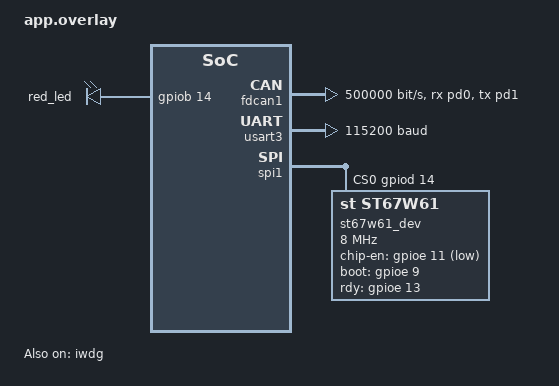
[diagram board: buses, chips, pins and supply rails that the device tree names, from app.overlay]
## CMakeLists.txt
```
cmake_minimum_required(VERSION 3.20.0)

# ── MCUboot image signing key ─────────────────────────────────────────────────
# Must be set before find_package(Zephyr) so cmake/mcuboot.cmake picks it up.
set(MCUBOOT_SIGNING_KEY_FILE ${CMAKE_CURRENT_SOURCE_DIR}/mcuboot_signing_key.pem)

find_package(Zephyr REQUIRED HINTS $ENV{ZEPHYR_BASE})
project(hdv_sim VERSION 1.0.0 LANGUAGES CXX C)

set(REPO_ROOT ${CMAKE_CURRENT_SOURCE_DIR}/..)


# Phase 0
set(APP_SRCS
    src/main.cpp
)

# Phase 1: shell, LED, HTTP server (now HTTPS)
list(APPEND APP_SRCS src/shell/debug_cmds.cpp)
list(APPEND APP_SRCS src/led/led_task.cpp)
list(APPEND APP_SRCS
    src/http/http_server.cpp
    src/http/http_cmd.cpp
    src/http/http_page.cpp
    src/http/http_session.cpp
    src/http/http_ota.cpp
)

# Phase 3c: common TLS credentials library (HTTPS + future MQTTS)
list(APPEND APP_SRCS src/tls/tls_creds.cpp)

# Phase 3: CAN RX thread
list(APPEND APP_SRCS src/can/can_rx.cpp)

# Phase 4: Plant model, CAN TX
file(GLOB_RECURSE PLANT_SRCS "${REPO_ROOT}/src/plant/*.cpp")
list(FILTER PLANT_SRCS EXCLUDE REGEX ".*/plant_model\\.cpp$")
list(APPEND APP_SRCS
    ${PLANT_SRCS}
    ${REPO_ROOT}/src/plant/subsystem_manager/subsystem_manager.cpp
    src/plant/plant_model_zephyr.cpp
    src/plant/plant_thread.cpp
    src/can/can_tx.cpp
)

# Auxiliary threads
list(APPEND APP_SRCS
    src/stats/stats_thread.cpp
    src/watchdog/watchdog_thread.cpp
)

# MQTT client — subscribes to hdv/cmd/actuator, publishes hdv/state/vehicle
list(APPEND APP_SRCS src/mqtt/mqtt_client.cpp)

target_sources(app PRIVATE ${APP_SRCS})

# ── Embed web UI ──────────────────────────────────────────────────────────────
# Built by `npm run build` in webui/ (scripts/ota_flash.sh does this first).
set(WEBUI_DIST ${CMAKE_CURRENT_SOURCE_DIR}/../webui/dist)
foreach(f index.html app.js app.css)
    if(NOT EXISTS ${WEBUI_DIST}/${f})
        message(FATAL_ERROR "webui/dist/${f} missing — run: cd webui && npm ci && npm run build")
    endif()
endforeach()
generate_inc_file_for_target(app ${WEBUI_DIST}/index.html ${CMAKE_CURRENT_BINARY_DIR}/webui_index.inc)
generate_inc_file_for_target(app ${WEBUI_DIST}/app.js     ${CMAKE_CURRENT_BINARY_DIR}/webui_app_js.inc)
generate_inc_file_for_target(app ${WEBUI_DIST}/app.css    ${CMAKE_CURRENT_BINARY_DIR}/webui_app_css.inc)

# ── Embed TLS certificate and private key ─────────────────────────────────────
# Generated by scripts/gen_tls_certs.sh — gitignored, never committed.
# Re-run gen_tls_certs.sh then rebuild to rotate the certificate.
generate_inc_file_for_target(app
    ${CMAKE_CURRENT_SOURCE_DIR}/certs/server.crt
    ${CMAKE_CURRENT_BINARY_DIR}/server_cert.inc
)
generate_inc_file_for_target(app
    ${CMAKE_CURRENT_SOURCE_DIR}/certs/server.key
    ${CMAKE_CURRENT_BINARY_DIR}/server_key.inc
)

# ── Embed MQTT broker CA certificate ─────────────────────────────────────────
# Generated by scripts/gen_mqtt_broker_cert.sh — gitignored, never committed.
# Re-run gen_mqtt_broker_cert.sh (with broker IP) then rebuild when broker IP changes.
generate_inc_file_for_target(app
    ${CMAKE_CURRENT_SOURCE_DIR}/certs/broker_ca.crt
    ${CMAKE_CURRENT_BINARY_DIR}/broker_ca.inc
)


target_include_directories(app PRIVATE
    ${REPO_ROOT}
    ${REPO_ROOT}/src
    ${REPO_ROOT}/src/plant
    ${REPO_ROOT}/utils
    ${CMAKE_CURRENT_SOURCE_DIR}/src
    ${CMAKE_CURRENT_SOURCE_DIR}/src/http
    ${CMAKE_CURRENT_SOURCE_DIR}/cpp_compat
    ${CMAKE_CURRENT_BINARY_DIR}    # webui_*.inc, server_cert.inc, server_key.inc
)
```

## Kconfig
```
mainmenu "Heavy-Duty Electric Vehicle Plant Simulator — Zephyr Configuration"

config HDV_CAN_LOOPBACK
	bool "Start FDCAN1 in internal loopback mode (self-test without transceiver)"
	default n
	help
	  When enabled the CAN RX thread calls can_set_mode(CAN_MODE_LOOPBACK)
	  before can_start(). Frames sent via 'can tx_test' are echoed back to
	  the RX filter without any external hardware. Disable for production.

config HDV_MQTT_BROKER_ADDR
	string "MQTT broker IP address"
	default "192.168.1.106"
	help
	  Default broker address. Can be overridden at runtime via the HTTPS
	  dashboard "MQTT Broker" card or the 'mqtt reconnect' shell command.

config HDV_MQTT_BROKER_PORT
	int "MQTT broker TCP port"
	default 1883
	range 1 65535
	help
	  Default broker port (1883 = plaintext MQTT).

source "Kconfig.zephyr"
```

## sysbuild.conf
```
# sysbuild.conf — Zephyr sysbuild configuration
# Instructs west to build MCUboot as a companion image and flash it
# alongside the application. Requires: west build --sysbuild

SB_CONFIG_BOOTLOADER_MCUBOOT=y
```

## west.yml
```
manifest:
  projects:
    - name: zephyr
      url: https://github.com/zephyrproject-rtos/zephyr
      revision: v3.7.0
      path: deps/zephyr
      import: true

  self:
    path: vehicle-Dynamics-Sim-Can/zephyr
```

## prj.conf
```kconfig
# ── Phase 1: Logging + UART Shell ────────────────────────────────────────────

CONFIG_MAIN_STACK_SIZE=4096
# Below watchdog (priority 2) so WDT feeds before main() logs banner
CONFIG_MAIN_THREAD_PRIORITY=3

# ── Logging over USART3 (ST-Link VCP) ────────────────────────────────────────
CONFIG_LOG=y
CONFIG_LOG_DEFAULT_LEVEL=3
CONFIG_LOG_BACKEND_UART=y
CONFIG_LOG_BUFFER_SIZE=16384
CONFIG_LOG_PROCESS_THREAD_STACK_SIZE=2048

# ── Interactive shell ─────────────────────────────────────────────────────────
CONFIG_SHELL=y
CONFIG_SHELL_BACKEND_SERIAL=y
CONFIG_SHELL_STACK_SIZE=4096

# ── C++ support ───────────────────────────────────────────────────────────────
CONFIG_CPP=y
CONFIG_STD_CPP17=y
CONFIG_NEWLIB_LIBC=y

# ── Floating-point support in cbprintf ───────────────────────────────────────
CONFIG_CBPRINTF_FP_SUPPORT=y

# ── Heap — general heap (Zephyr k_malloc, network stack, shell)
# 128 KB is ample now that mbed TLS is removed.
CONFIG_HEAP_MEM_POOL_SIZE=131072

# ── Networking ────────────────────────────────────────────────────────────────
CONFIG_NETWORKING=y
CONFIG_NET_IPV4=y
CONFIG_NET_TCP=y
CONFIG_NET_SOCKETS=y
CONFIG_POSIX_API=y

# ── Wi-Fi (X-NUCLEO-67W61M1 / ST67W61) ──────────────────────────────────────
# WIFI=y enables the driver submenu; WIFI_ST67W61 auto-enables via default y
# when the DT node (compatible = "st,st67w61", status = "okay") is present.
# NET_L2_WIFI_MGMT, WIFI_OFFLOAD, SPI, GPIO are all selected by the driver.
CONFIG_WIFI=y
# DBG level (4) to see RX header bytes during SPI bring-up.
# Reduce to 3 (INF) once boot message is confirmed working.
CONFIG_ST67W61_LOG_LEVEL=4
# BOOT polarity test (run 2026-05-13): HIGH = module fully silent,
# LOW = module emits `01 55 00 00 00 00 01 00` frame. Conclusion: LOW
# is the normal AT mode (matches ST datasheet); the 01-55 frame is the
# real boot reply of this firmware variant, just in a different format
# than the bare-metal-implementation reference.
# CONFIG_ST67W61_BOOT_LEVEL_FOR_AT=1   # leave commented (= default 0)

# ── Static IP (192.168.1.80) — unchanged from Ethernet config ────────────────
CONFIG_NET_CONFIG_SETTINGS=y
CONFIG_NET_CONFIG_NEED_IPV4=y
CONFIG_NET_CONFIG_MY_IPV4_ADDR="192.168.1.80"
CONFIG_NET_CONFIG_MY_IPV4_NETMASK="255.255.255.0"
CONFIG_NET_CONFIG_MY_IPV4_GW="192.168.1.1"
# 0 = return immediately; Wi-Fi association is signalled via NET_EVENT_L4_CONNECTED
# handled in net_mgr.cpp — threads wait on that semaphore, not on net_config.
CONFIG_NET_CONFIG_INIT_TIMEOUT=0

# ── Network buffers ───────────────────────────────────────────────────────────
CONFIG_NET_PKT_RX_COUNT=16
CONFIG_NET_PKT_TX_COUNT=16
CONFIG_NET_BUF_RX_COUNT=64
CONFIG_NET_BUF_TX_COUNT=64
CONFIG_NET_TCP_TIME_WAIT_DELAY=0


# ── Thread introspection ──────────────────────────────────────────────────────
CONFIG_THREAD_MONITOR=y
CONFIG_THREAD_NAME=y
CONFIG_THREAD_STACK_INFO=y
CONFIG_INIT_STACKS=y

# ── Memory protection + security hardening ────────────────────────────────────
CONFIG_MPU=y
# MPU catches stack overflow — replaces STACK_SENTINEL
CONFIG_HW_STACK_PROTECTION=y
CONFIG_FAULT_DUMP=2
CONFIG_ASSERT=y

# ── Hardware watchdog ─────────────────────────────────────────────────────────
CONFIG_WATCHDOG=y

# ── MCUboot secure bootloader ────────────────────────────────────────────────
CONFIG_BOOTLOADER_MCUBOOT=y
CONFIG_IMG_MANAGER=y
CONFIG_FLASH=y
CONFIG_FLASH_MAP=y
CONFIG_STREAM_FLASH=y
CONFIG_IMG_ERASE_PROGRESSIVELY=y
# Signing key set via MCUBOOT_SIGNING_KEY_FILE in CMakeLists.txt (MCUboot test key).

# ── Phase 3c: TLS / mbedTLS (HTTPS on port 443) ──────────────────────────────
# NET_SOCKETS_SOCKOPT_TLS implies TLS_CREDENTIALS and selects MBEDTLS_BUILTIN.
CONFIG_NET_SOCKETS_SOCKOPT_TLS=y
CONFIG_MBEDTLS_BUILTIN=y

# mbedTLS heap: 2×16384 I/O buffers + RSA-2048 (~20KB) + X.509 (~8KB) ≈ 60KB peak.
# 96KB gives ~36KB headroom. SSL_MAX_CONTENT_LEN must be 16384 (TLS standard max)
# so curl OTA uploads fit in a single TLS record.
CONFIG_MBEDTLS_ENABLE_HEAP=y
CONFIG_MBEDTLS_HEAP_SIZE=131072
CONFIG_MBEDTLS_SSL_MAX_CONTENT_LEN=16384

# TLS contexts: HTTPS listen(1) + HTTPS accepted(2) + MQTTS client(1) + headroom(1)
CONFIG_NET_SOCKETS_TLS_MAX_CONTEXTS=5

# ── mbedTLS cipher suite: TLS_ECDHE_RSA_WITH_AES_128_GCM_SHA256 ──────────────
# Correct Kconfig symbol names (verified against Kconfig.tls-generic):
#   ECDHE_RSA depends on ECDH_C which depends on ECP_C.
#   GCM: MBEDTLS_CIPHER_GCM_ENABLED (not MBEDTLS_GCM_ENABLED — that doesn't exist).
#   SHA256: MBEDTLS_SHA256 (no _ENABLED suffix; defaults y but listed for clarity).
#   Inline comments on value lines are NOT supported in .conf files.
CONFIG_MBEDTLS_KEY_EXCHANGE_ECDHE_RSA_ENABLED=y
CONFIG_MBEDTLS_ECDH_C=y
CONFIG_MBEDTLS_ECP_C=y
CONFIG_MBEDTLS_ECP_DP_SECP256R1_ENABLED=y
CONFIG_MBEDTLS_CIPHER_AES_ENABLED=y
CONFIG_MBEDTLS_CIPHER_GCM_ENABLED=y
CONFIG_MBEDTLS_SHA256=y
# PEM cert/key support — without this mbedTLS only supports DER (binary) format.
# MBEDTLS_PEM_PARSE_C and MBEDTLS_BASE64_C are both gated on this symbol.
CONFIG_MBEDTLS_PEM_CERTIFICATE_FORMAT=y

# Enable runtime heap statistics — populates g_sys_stats.heap_used/free.
# Visible in the dashboard "System Resources" card.
CONFIG_SYS_HEAP_RUNTIME_STATS=y

# ── MQTT client (plaintext TCP, no TLS for now) ───────────────────────────────
# CONFIG_NET_SOCKETS_TLS_MAX_CONTEXTS stays at 2 — plaintext uses no TLS context.
CONFIG_MQTT_LIB=y
CONFIG_MQTT_LIB_TLS=y
CONFIG_MQTT_KEEPALIVE=60
CONFIG_JSON_LIBRARY=y
CONFIG_HDV_MQTT_BROKER_ADDR="192.168.1.106"
CONFIG_HDV_MQTT_BROKER_PORT=8883

# ── Phase 3: FDCAN1 CAN transport ────────────────────────────────────────────
CONFIG_CAN=y

# Loopback mode — set y for self-test without a physical transceiver.
# Set n only when SN65HVD230 is wired to CN11 pins 55/57 with RS pulled to GND.
CONFIG_HDV_CAN_LOOPBACK=y
```

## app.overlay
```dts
/*
 * app.overlay — DeviceTree overlay for Nucleo-H753ZI
 *
 * Phase 0: USART3 only (ST-Link VCP, no extra cable needed).
 * Phase 1: uncomment FDCAN1 block.
 *
 * FDCAN1 wiring (when enabled):
 *   PD0 (RX) = CN11 morpho pin 57  — marked CAN on board silkscreen
 *   PD1 (TX) = CN11 morpho pin 55
 *   Connect to SN65HVD230 or TCAN1042 transceiver (3.3V compatible).
 */

/ {
    chosen {
        zephyr,console    = &usart3;
        zephyr,shell-uart = &usart3;
        zephyr,canbus     = &fdcan1;
    };

    /* LD3 (red, PB14) — board DTS exposes this only as a PWM LED.
     * Add it here as a plain GPIO so led_task.cpp can drive it directly. */
    app_leds: app_leds {
        compatible = "gpio-leds";
        red_led: led_2 {
            gpios = <&gpiob 14 GPIO_ACTIVE_HIGH>;
        };
    };

    aliases {
        led2 = &red_led;
    };
};

/* Phase 3: FDCAN1 at 500 kbps — PD0 (RX), PD1 (TX)
 * Connect to TCAN1042 or SN65HVD230 (3.3 V) transceiver.
 * In loopback mode (CONFIG_HDV_CAN_LOOPBACK=y) no transceiver is needed.
 * Pinctrl nodes defined in Zephyr's stm32h7-pinctrl.dtsi. */
&fdcan1 {
    status = "okay";
    pinctrl-0 = <&fdcan1_rx_pd0 &fdcan1_tx_pd1>;
    pinctrl-names = "default";
    bitrate = <500000>;
    sample-point = <875>;
};

&usart3 {
    status = "okay";
    current-speed = <115200>;
};

/* Ethernet MAC disabled — Wi-Fi provided by X-NUCLEO-67W61M1 HAT (ST67W61) */
&mac {
    status = "disabled";
};

/*
 * SPI1 — Arduino header (confirmed from nucleo_h753zi arduino_r3_connector.dtsi):
 *   D13 = PA5  (SPI1_SCK)
 *   D12 = PA6  (SPI1_MISO)
 *   D11 = PB5  (SPI1_MOSI)
 *   D10 = PD14 (CS — GPIO_ACTIVE_LOW, already in board DTS)
 *   D5  = PE11 (CHIP_EN — confirmed from NUCLEO-U575ZI-Q ref main.h)
 *   D6  = PE9  (BOOT    — confirmed from NUCLEO-U575ZI-Q ref main.h, drive LOW = normal mode)
 *   D3  = PE13 (SPI_RDY — confirmed from NUCLEO-U575ZI-Q ref main.h)
 *
 * The board DTS already enables SPI1 with pinctrl and D10/CS.
 * We override it here to add the ST67W61 child device and keep CS settings.
 */
&spi1 {
    status = "okay";
    /* pinctrl-0 / pinctrl-names inherited from board DTS.
     * cs-gpios overridden: ST67W61 SPI CS is active-HIGH (reference spi_port_set_cs(1)
     * drives GPIO_PIN_SET = physical HIGH = chip selected). Board DTS default is
     * GPIO_ACTIVE_LOW which inverts the sense and prevents CS from ever asserting. */
    cs-gpios = <&gpiod 14 GPIO_ACTIVE_HIGH>;
    /* fifo-enable: on H7 this sets LL_SPI_SetTransferSize(N) per transaction
     * and clears EOT/OVR/TXTF flags at completion — prevents stale SPI state
     * from leaking across calls (TSIZE=0 "endless" mode is unreliable here). */
    fifo-enable;
    /* mssi-clock: 8 SPI clock cycles between CS assertion and first SCK edge.
     * At 1.875 MHz: 8 × 533 ns ≈ 4.3 µs CS setup time.
     * ST67W61 may need time to recognise CS and load its shift register. */
    mssi-clock = <8>;
    /* midi-clock: 4 cycles between consecutive SPI frames.
     * Ensures MISO is in a clean state between each byte burst. */
    midi-clock = <4>;

    st67w61_dev: wifi@0 {
        compatible = "st,st67w61";
        reg = <0>;
        status = "okay";
        /* 480 MHz PLL1_Q / 64 = 7.5 MHz — matches reference project's 10 MHz intent.
         * Reference Echo project uses SPI_BAUDRATEPRESCALER_16 on 160 MHz = 10 MHz.
         * DT_FREQ_M(8) selects DIV64 → actual 7.5 MHz.
         * Prior value DT_FREQ_M(2) = 1.875 MHz may have caused module timeout:
         * at 1.875 MHz, 1036-byte RX takes ~12 ms (with Zephyr polling overhead);
         * if the module has an internal rx-complete timeout it could abort early. */
        spi-max-frequency = <DT_FREQ_M(8)>;
        /* CHIP_EN: D5 = PE11 — active-low (GPIO_ACTIVE_LOW): logical 0 = physical HIGH = module on */
        chip-en-gpios = <&gpioe 11 GPIO_ACTIVE_LOW>;
        /* BOOT:    D6 = PE9  — drive LOW = normal SPI AT mode (HIGH = firmware update) */
        boot-gpios    = <&gpioe 9  GPIO_ACTIVE_HIGH>;
        /* SPI_RDY: D3 = PE13 — module drives HIGH when ready; PULL_DOWN = LOW when idle */
        rdy-gpios     = <&gpioe 13 (GPIO_ACTIVE_HIGH | GPIO_PULL_DOWN)>;
    };
};

&iwdg {
    status = "okay";
};

/* ── Flash partition layout — overrides board DTS defaults ───────────────────
 * STM32H753ZI: 2 MB dual-bank flash, 128 KB sectors.
 * ALL boundaries must be 128 KB aligned.
 *
 * Board default (nucleo_h753zi.dts):
 *   0x08000000  MCUboot    128 KB  sector 0, bank 1
 *   0x08020000  Storage    128 KB  sector 1, bank 1  ← left in place (board default)
 *   0x08040000  Slot 0     256 KB  sectors 2-3, bank 1 (default — too small for us)
 *   0x08080000  Slot 1     256 KB  sectors 4-5, bank 1 (default)
 *   0x080C0000  Scratch    128 KB  sector 6, bank 1  (default)
 *
 * Our override (expand slots, respect storage_partition at 0x20000):
 *   0x08000000  MCUboot    128 KB  (sector 0, bank 1)
 *   0x08020000  Storage    128 KB  (sector 1, bank 1)  — board default, not touched
 *   0x08040000  Slot 0     640 KB  (sectors 2-6, bank 1)  ← active app
 *   0x080E0000  Unused     128 KB  (sector 7, bank 1)
 *   0x08100000  Slot 1     640 KB  (sectors 0-4, bank 2)  ← OTA update
 *   0x081A0000  Unused     256 KB  (sectors 5-6, bank 2)
 *   0x081E0000  Scratch    128 KB  (sector 7, bank 2)
 *
 * slot0 node stays at partition@40000 — matches board DTS node name, no warnings.
 * 640 KB >> 286 KB app; ample headroom.
 */
&boot_partition {
    reg = <0x00000000 DT_SIZE_K(128)>;
};
&slot0_partition {
    reg = <0x00040000 DT_SIZE_K(640)>;
};
&slot1_partition {
    reg = <0x00100000 DT_SIZE_K(640)>;
};
&scratch_partition {
    reg = <0x001E0000 DT_SIZE_K(128)>;
};
```

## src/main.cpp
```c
// zephyr/src/main.cpp
// Heavy-Duty Electric Vehicle Plant Simulator — Zephyr RTOS entry point

#include <zephyr/kernel.h>
#include <zephyr/logging/log.h>
#include <zephyr/dfu/mcuboot.h>

#include "state/sim_state.hpp"
#include "state/control_bus.hpp"
#include "state/system_health.hpp"
#include "net/net_mgr.hpp"

LOG_MODULE_REGISTER(hdv_sim, LOG_LEVEL_INF);

// ── Shared state buses ────────────────────────────────────────────────────────
hdv::SimStateBus      g_sim_bus{};      // plant output + actuator command
hdv::ControlBus       g_ctrl_bus{};     // source arbitration + counters + mu
hdv::SystemHealthBus  g_health_bus{};   // system telemetry (stats_thread writes)

// K_MUTEX_DEFINE must be at file scope — Zephyr linker constraint.
K_MUTEX_DEFINE(g_sim_plant_mtx);   // guards g_sim_bus.plant
K_MUTEX_DEFINE(g_sim_cmd_mtx);     // guards g_sim_bus.cmd
K_MUTEX_DEFINE(g_health_mtx);      // guards g_health_bus.stats

// ── Watchdog semaphore — given by plant_thread every 10 ms ───────────────────
#ifdef CONFIG_WATCHDOG
K_SEM_DEFINE(g_wdt_sem, 0, 1);
#endif

int main(void)
{
    LOG_INF("========================================");
    LOG_INF("Heavy-Duty Electric Vehicle Plant Simulator");
    LOG_INF("Board : nucleo_h753zi (STM32H753ZI)");
    LOG_INF("Phase : 3 - HTTPS + OTA + CAN (loopback)");
    LOG_INF("========================================");
    LOG_INF("Shell ready on USART3 — type 'help' for commands");

    // Start Wi-Fi connection manager — threads wait on net_mgr_wait_connected().
    net_mgr_init();

    // Confirm image to MCUboot — without this, MCUboot rolls back on next reset.
    if (boot_is_img_confirmed()) {
        LOG_INF("BOOT: image already confirmed");
    } else {
        int rc = boot_write_img_confirmed();
        if (rc == 0) {
            LOG_INF("BOOT: image confirmed OK");
        } else {
            LOG_ERR("BOOT: image confirm failed (rc=%d) — will roll back on reset", rc);
        }
    }

    while (true) {
        k_msleep(60000);
    }

    return 0;
}
```

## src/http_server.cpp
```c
// zephyr/src/http_server.cpp
// Minimal HTTP server — serves a live dashboard on port 80.
// Single-threaded: accept → parse request line → apply command if query present
//                 → build HTML → send → close.
// Uses Zephyr native socket API (zsock_*) — no CONFIG_POSIX_API needed.
//
// Priority 10: below sim (Phase 4, prio 5), above LED (prio 12) and shell (prio 14).

#include <zephyr/kernel.h>
#include <zephyr/net/socket.h>
#include <zephyr/net/net_if.h>
#include <zephyr/net/net_ip.h>
#include <zephyr/logging/log.h>
#include <stdio.h>    /* snprintf */
#include <stdlib.h>   /* atof */
#include <string.h>   /* strncmp, strlen */

#include "plant/plant_main/plant_state.hpp"
#include "sim/actuator_cmd.hpp"

LOG_MODULE_DECLARE(xcmg_sim, LOG_LEVEL_INF);

// ── Shared state — defined in main.cpp ───────────────────────────────────────
extern plant::PlantState g_state;
extern sim::ActuatorCmd  g_cmd;
extern struct k_mutex    g_state_mutex;
extern struct k_mutex    g_cmd_mutex;

extern volatile uint32_t g_can_tx_count;
extern volatile uint32_t g_can_rx_count;
extern volatile uint32_t g_can_timeout_count;
extern volatile double   g_last_rx_t;
extern double            g_surface_mu;

// ── Helpers ───────────────────────────────────────────────────────────────────

static void send_str(int fd, const char* s)
{
    int len = (int)strlen(s);
    int sent = 0;
    while (sent < len) {
        int r = zsock_send(fd, s + sent, len - sent, 0);
        if (r <= 0) return;
        sent += r;
    }
}

// Read the HTTP request line ("GET /path?query HTTP/1.1\r\n") byte-by-byte.
// Copies everything after '?' and before the next ' ' into query_out.
// query_out[0] == '\0' if there is no query string.
static void read_request_line(int fd, char* query_out, int qlen)
{
    query_out[0] = '\0';

    char line[192];
    int  li = 0;

    while (li < (int)sizeof(line) - 1) {
        char c;
        if (zsock_recv(fd, &c, 1, 0) <= 0) break;
        if (c == '\n') break;
        line[li++] = c;
    }
    line[li] = '\0';

    // Find '?'
    char* q = line;
    while (*q && *q != '?') ++q;
    if (!*q) return; // no query string

    ++q; // skip '?'
    int i = 0;
    while (*q && *q != ' ' && *q != '\r' && i < qlen - 1)
        query_out[i++] = *q++;
    query_out[i] = '\0';
}

// Drain remaining HTTP headers until the blank line (\r\n\r\n).
static void drain_headers(int fd)
{
    int state = 0;
    while (state < 4) {
        char c;
        if (zsock_recv(fd, &c, 1, 0) <= 0) break;
        if      (state == 0 && c == '\r') state = 1;
        else if (state == 1 && c == '\n') state = 2;
        else if (state == 2 && c == '\r') state = 3;
        else if (state == 3 && c == '\n') state = 4;
        else                              state = (c == '\r') ? 1 : 0;
    }
}

// ── Query string parser ───────────────────────────────────────────────────────

// Returns pointer to start of the value for 'key' in query string 'qs',
// or NULL if not found.  Value ends at '&', ' ', '\0'.
static const char* find_param(const char* qs, const char* key)
{
    int klen = (int)strlen(key);
    const char* p = qs;
    while (*p) {
        if (strncmp(p, key, klen) == 0 && p[klen] == '=')
            return p + klen + 1;
        while (*p && *p != '&') ++p;
        if (*p == '&') ++p;
    }
    return nullptr;
}

// Parse query string and apply found params to g_cmd (partial update).
static void apply_web_cmd(const char* qs)
{
    sim::ActuatorCmd cmd;
    k_mutex_lock(&g_cmd_mutex, K_FOREVER);
    cmd = g_cmd;
    k_mutex_unlock(&g_cmd_mutex);

    const char* v;
    if ((v = find_param(qs, "steer")))  cmd.steer_cmd_deg       = atof(v);
    if ((v = find_param(qs, "torque"))) cmd.drive_torque_cmd_nm = atof(v);
    if ((v = find_param(qs, "brake")))  cmd.brake_cmd_pct       = atof(v);
    if ((v = find_param(qs, "gear"))) {
        cmd.gear_position = (v[0] == 'F') ? sim::GearPosition::FORWARD :
                            (v[0] == 'R') ? sim::GearPosition::REVERSE :
                                            sim::GearPosition::NEUTRAL;
    }
    if ((v = find_param(qs, "enable"))) cmd.system_enable = (v[0] == '1');

    k_mutex_lock(&g_cmd_mutex, K_FOREVER);
    g_cmd = cmd;
    k_mutex_unlock(&g_cmd_mutex);

    // Poke watchdog so plant_thread keeps this command alive for 500 ms
    g_last_rx_t = (double)k_uptime_get_32() / 1000.0;
}

// ── Thread info collection ────────────────────────────────────────────────────

struct ThreadInfo {
    char   name[24];
    int    priority;
    size_t stack_used;
    size_t stack_total;
};

static ThreadInfo s_threads[20];
static int        s_thread_count;

static void collect_thread_cb(const struct k_thread* t, void*)
{
    if (s_thread_count >= 20) return;
    ThreadInfo& info = s_threads[s_thread_count++];

    const char* n = k_thread_name_get((k_tid_t)t);
    strncpy(info.name, (n && n[0]) ? n : "?", sizeof(info.name) - 1);
    info.name[sizeof(info.name) - 1] = '\0';

    info.priority    = k_thread_priority_get((k_tid_t)t);
    info.stack_total = t->stack_info.size;

    size_t unused = 0;
    k_thread_stack_space_get(t, &unused);
    info.stack_used = (info.stack_total > unused) ? (info.stack_total - unused) : 0;
}

static void send_threads_card(int fd)
{
    char buf[256];

    s_thread_count = 0;
    k_thread_foreach(collect_thread_cb, nullptr);

    send_str(fd,
        "<div class='card'>"
        "<h2>Kernel Threads</h2>"
        "<table>"
        "<tr style='color:#8b949e;font-size:12px'>"
        "<td>Name</td><td>Prio</td><td style='width:40%'>Stack used / total</td><td>%</td>"
        "</tr>"
    );

    for (int i = 0; i < s_thread_count; ++i) {
        const ThreadInfo& ti = s_threads[i];
        int pct = (ti.stack_total > 0)
                  ? (int)(100u * ti.stack_used / ti.stack_total) : 0;
        const char* cls = (pct >= 80) ? "val-warn" : (pct >= 60) ? "" : "val-hi";

        snprintf(buf, sizeof(buf),
            "<tr><td>%s</td><td>%d</td>"
            "<td><span class='%s'>%zu</span> / %zu B</td>"
            "<td class='%s'>%d%%</td></tr>",
            ti.name, ti.priority,
            cls, ti.stack_used, ti.stack_total,
            cls, pct);
        send_str(fd, buf);
    }

    send_str(fd, "</table></div>");
}

// ── HTML page builder ─────────────────────────────────────────────────────────

static void send_page(int fd)
{
    char buf[512];

    // ── HTTP header ───────────────────────────────────────────────────────────
    send_str(fd,
        "HTTP/1.1 200 OK\r\n"
        "Content-Type: text/html; charset=utf-8\r\n"
        "Connection: close\r\n"
        "\r\n"
    );

    // ── HTML head + global styles ─────────────────────────────────────────────
    send_str(fd,
        "<!DOCTYPE html><html lang='en'><head>"
        "<meta charset='utf-8'>"
        "<meta http-equiv='refresh' content='2'>"
        "<meta name='viewport' content='width=device-width,initial-scale=1'>"
        "<title>XCMG XDE320 &mdash; Simulator</title>"
        "<style>"
        "*{box-sizing:border-box;margin:0;padding:0}"
        "body{background:#161b22;color:#e6edf3;font-family:monospace;font-size:14px;padding:16px}"
        "h1{font-size:18px;font-weight:600;color:#58a6ff}"
        "h2{font-size:13px;font-weight:600;color:#58a6ff;margin-bottom:8px;text-transform:uppercase;letter-spacing:.05em}"
        ".header{display:flex;align-items:center;gap:16px;padding:12px 16px;background:#21262d;border-radius:8px;margin-bottom:16px}"
        ".badge{background:#1a7f37;color:#fff;font-size:11px;padding:2px 8px;border-radius:12px}"
        ".meta{color:#8b949e;font-size:12px}"
        ".grid{display:grid;grid-template-columns:1fr 1fr;gap:12px;margin-bottom:12px}"
        ".card{background:#21262d;border-radius:8px;padding:14px;margin-bottom:12px}"
        "table{width:100%;border-collapse:collapse}"
        "td{padding:3px 0;vertical-align:top}"
        "td:first-child{color:#8b949e;width:52%;padding-right:8px}"
        "td:last-child{color:#e6edf3;font-weight:500}"
        ".val-hi{color:#3fb950}"
        ".val-warn{color:#d29922}"
    );
    send_str(fd,
        ".btn{display:inline-block;padding:6px 14px;border-radius:6px;font-family:monospace;"
        "font-size:13px;font-weight:600;text-decoration:none;border:none;cursor:pointer;margin:3px 2px}"
        ".btn-stop{background:#da3633;color:#fff}"
        ".btn-fwd{background:#238636;color:#fff}"
        ".btn-rev{background:#1f6feb;color:#fff}"
        ".btn-steer{background:#30363d;color:#e6edf3;border:1px solid #444}"
        ".btn-inject{background:#1f6feb;color:#fff;padding:7px 20px}"
        "label{color:#8b949e;font-size:12px;margin-right:4px}"
        "input[type=number],select{"
        "background:#0d1117;color:#e6edf3;border:1px solid #30363d;"
        "border-radius:4px;padding:4px 6px;font-family:monospace;font-size:13px;"
        "width:100px;margin-right:12px}"
        "select{width:auto}"
        "input[type=checkbox]{margin-right:4px;vertical-align:middle}"
        ".ctrl-row{display:flex;flex-wrap:wrap;align-items:center;gap:4px;margin-top:8px}"
        "</style></head><body>"
    );

    // ── Snapshot shared state ─────────────────────────────────────────────────
    plant::PlantState s{};
    sim::ActuatorCmd  c{};

    k_mutex_lock(&g_state_mutex, K_FOREVER);
    s = g_state;
    k_mutex_unlock(&g_state_mutex);

    k_mutex_lock(&g_cmd_mutex, K_FOREVER);
    c = g_cmd;
    k_mutex_unlock(&g_cmd_mutex);

    uint32_t ms  = k_uptime_get_32();
    uint32_t sec_up = ms / 1000;
    uint32_t h   = sec_up / 3600;
    uint32_t m   = (sec_up % 3600) / 60;
    uint32_t sc  = sec_up % 60;

    // ── Header bar ────────────────────────────────────────────────────────────
    snprintf(buf, sizeof(buf),
        "<div class='header'>"
        "<h1>XCMG XDE320 &mdash; Simulator Dashboard</h1>"
        "<span class='badge'>&#9679; ONLINE</span>"
        "<span class='meta'>Uptime&nbsp;%02u:%02u:%02u</span>"
        "<span class='meta'>IP&nbsp;192.168.1.80</span>"
        "<span class='meta'>MAC&nbsp;02:00:5E:00:53:01</span>"
        "</div>",
        h, m, sc);
    send_str(fd, buf);

    // ── Two-column grid ───────────────────────────────────────────────────────
    send_str(fd, "<div class='grid'>");

    // Left card — Plant State
    send_str(fd, "<div class='card'><h2>Plant State</h2><table>");
    snprintf(buf, sizeof(buf),
        "<tr><td>vx</td><td>%.3f m/s</td></tr>"
        "<tr><td>vy</td><td>%.3f m/s</td></tr>"
        "<tr><td>yaw</td><td>%.2f &deg;</td></tr>"
        "<tr><td>yaw rate</td><td>%.2f &deg;/s</td></tr>"
        "<tr><td>x</td><td>%.2f m</td></tr>"
        "<tr><td>y</td><td>%.2f m</td></tr>",
        s.v_mps, s.vy_mps,
        s.yaw_rad * 57.2958, s.yaw_rate_radps * 57.2958,
        s.x_m, s.y_m);
    send_str(fd, buf);
    snprintf(buf, sizeof(buf),
        "<tr><td>steer</td><td>%.2f &deg;</td></tr>"
        "<tr><td>SOC</td><td class='val-hi'>%.1f %%</td></tr>"
        "<tr><td>&omega; FL</td><td>%.2f rad/s</td></tr>"
        "<tr><td>&omega; FR</td><td>%.2f rad/s</td></tr>"
        "<tr><td>&omega; RL</td><td>%.2f rad/s</td></tr>"
        "<tr><td>&omega; RR</td><td>%.2f rad/s</td></tr>"
        "<tr><td>surface &mu;</td><td>%.2f</td></tr>",
        s.steer_virtual_rad * 57.2958,
        s.batt_soc_pct,
        s.omega_fl_radps, s.omega_fr_radps,
        s.omega_rl_radps, s.omega_rr_radps,
        s.surface_mu);
    send_str(fd, buf);
    send_str(fd, "</table></div>");

    // Right column — two stacked cards
    send_str(fd, "<div style='display:flex;flex-direction:column;gap:12px'>");

    // Actuator cmd card
    send_str(fd, "<div class='card'><h2>Actuator Command</h2><table>");
    snprintf(buf, sizeof(buf),
        "<tr><td>Enable</td><td class='%s'>%s</td></tr>"
        "<tr><td>Gear</td><td>%s</td></tr>"
        "<tr><td>Torque</td><td>%.1f Nm</td></tr>"
        "<tr><td>Brake</td><td>%.2f %%</td></tr>"
        "<tr><td>Steer</td><td>%.2f &deg;</td></tr>",
        c.system_enable ? "val-hi" : "val-warn",
        c.system_enable ? "ON" : "OFF",
        c.gear_position == sim::GearPosition::FORWARD ? "FORWARD" :
        c.gear_position == sim::GearPosition::REVERSE ? "REVERSE" : "NEUTRAL",
        c.drive_torque_cmd_nm, c.brake_cmd_pct, c.steer_cmd_deg);
    send_str(fd, buf);
    send_str(fd, "</table></div>");

    // CAN stats card
    send_str(fd, "<div class='card'><h2>CAN Stats</h2><table>");
    snprintf(buf, sizeof(buf),
        "<tr><td>TX frames</td><td>%u</td></tr>"
        "<tr><td>RX frames</td><td>%u</td></tr>"
        "<tr><td>Timeouts</td><td class='%s'>%u</td></tr>"
        "<tr><td>Last RX</td><td>%.3f s</td></tr>",
        g_can_tx_count, g_can_rx_count,
        g_can_timeout_count ? "val-warn" : "",
        g_can_timeout_count,
        g_last_rx_t);
    send_str(fd, buf);
    send_str(fd, "</table></div>");

    send_str(fd, "</div>"); // right column
    send_str(fd, "</div>"); // grid

    // ── Controls card ─────────────────────────────────────────────────────────
    double sp5 = c.steer_cmd_deg + 5.0;
    double sm5 = c.steer_cmd_deg - 5.0;
    if (sp5 >  45.0) sp5 =  45.0;
    if (sm5 < -45.0) sm5 = -45.0;

    send_str(fd, "<div class='card'><h2>Controls</h2>");

    // Quick-action buttons
    send_str(fd, "<div class='ctrl-row'>");
    send_str(fd,
        "<a class='btn btn-stop' href='/?enable=1&gear=N&torque=0&brake=100&steer=0'>"
        "&#9632;&nbsp;STOP</a>");
    send_str(fd,
        "<a class='btn btn-fwd' href='/?enable=1&gear=F&torque=50000&brake=0&steer=0'>"
        "&#9654;&nbsp;Drive FWD</a>");
    send_str(fd,
        "<a class='btn btn-rev' href='/?enable=1&gear=R&torque=50000&brake=0&steer=0'>"
        "&#9664;&nbsp;Drive REV</a>");

    snprintf(buf, sizeof(buf),
        "<a class='btn btn-steer' href='/?steer=%.0f'>&#8592;&nbsp;%.0f&deg;</a>"
        "<a class='btn btn-steer' href='/?steer=%.0f'>%.0f&deg;&nbsp;&#8594;</a>",
        sm5, sm5, sp5, sp5);
    send_str(fd, buf);
    send_str(fd, "</div>");

    // Manual inject form
    const char* sel_f = (c.gear_position == sim::GearPosition::FORWARD) ? " selected" : "";
    const char* sel_n = (c.gear_position == sim::GearPosition::NEUTRAL) ? " selected" : "";
    const char* sel_r = (c.gear_position == sim::GearPosition::REVERSE) ? " selected" : "";

    send_str(fd, "<form method='get' action='/' style='margin-top:10px'>");
    send_str(fd, "<div class='ctrl-row'>");

    snprintf(buf, sizeof(buf),
        "<label>Steer&nbsp;&deg;</label>"
        "<input type='number' name='steer' min='-45' max='45' step='1' value='%.0f'>",
        c.steer_cmd_deg);
    send_str(fd, buf);

    snprintf(buf, sizeof(buf),
        "<label>Torque&nbsp;Nm</label>"
        "<input type='number' name='torque' min='0' max='145000' step='5000' value='%.0f'>",
        c.drive_torque_cmd_nm);
    send_str(fd, buf);

    snprintf(buf, sizeof(buf),
        "<label>Brake&nbsp;%%</label>"
        "<input type='number' name='brake' min='0' max='100' step='5' value='%.0f'>",
        c.brake_cmd_pct);
    send_str(fd, buf);

    snprintf(buf, sizeof(buf),
        "<label>Gear</label>"
        "<select name='gear'>"
        "<option value='F'%s>FORWARD</option>"
        "<option value='N'%s>NEUTRAL</option>"
        "<option value='R'%s>REVERSE</option>"
        "</select>",
        sel_f, sel_n, sel_r);
    send_str(fd, buf);

    snprintf(buf, sizeof(buf),
        "<label><input type='checkbox' name='enable' value='1'%s>Enable</label>",
        c.system_enable ? " checked" : "");
    send_str(fd, buf);

    send_str(fd, "</div>");
    send_str(fd, "<div class='ctrl-row' style='margin-top:6px'>");
    send_str(fd,
        "<button class='btn btn-inject' type='submit'>Inject Command &#8594;</button>"
        "<span class='meta'>&nbsp;watchdog: resend within 500&nbsp;ms to hold</span>");
    send_str(fd, "</div></form></div>");

    // ── Kernel threads card ───────────────────────────────────────────────────
    send_threads_card(fd);

    // ── Full-width vehicle card ───────────────────────────────────────────────
    send_str(fd,
        "<div class='card'>"
        "<h2>Vehicle &mdash; XCMG XDE320 Electric</h2>"
        "<table><tr>"
        "<td>Mass</td><td>218 000 kg (218 t)</td>"
        "<td>Motor power</td><td>2 013 kW</td>"
        "<td>Motor torque</td><td>145 000 Nm</td>"
        "</tr><tr>"
        "<td>Battery</td><td>1 650 kWh</td>"
        "<td>Max speed</td><td>17.8 m/s (64 km/h)</td>"
        "<td>Gear ratio</td><td>28.0</td>"
        "</tr></table>"
        "</div>"
    );

    send_str(fd, "</body></html>");
}

// ── HTTP server thread ────────────────────────────────────────────────────────

static void http_server_thread(void*, void*, void*)
{
    k_msleep(2000);

    int srv = zsock_socket(AF_INET, SOCK_STREAM, IPPROTO_TCP);
    if (srv < 0) {
        LOG_ERR("HTTP: socket() failed: %d", srv);
        return;
    }

    int opt = 1;
    zsock_setsockopt(srv, SOL_SOCKET, SO_REUSEADDR, &opt, sizeof(opt));

    struct sockaddr_in addr{};
    addr.sin_family      = AF_INET;
    addr.sin_port        = htons(80);
    addr.sin_addr.s_addr = INADDR_ANY;

    if (zsock_bind(srv, (struct sockaddr*)&addr, sizeof(addr)) < 0) {
        LOG_ERR("HTTP: bind() failed");
        zsock_close(srv);
        return;
    }

    if (zsock_listen(srv, 3) < 0) {
        LOG_ERR("HTTP: listen() failed");
        zsock_close(srv);
        return;
    }

    LOG_INF("HTTP server listening on 192.168.1.80:80");

    while (true) {
        struct sockaddr_in client_addr{};
        socklen_t client_len = sizeof(client_addr);
        int client = zsock_accept(srv, (struct sockaddr*)&client_addr, &client_len);
        if (client < 0) {
            k_msleep(10);
            continue;
        }

        char query[128] = {};
        read_request_line(client, query, sizeof(query));
        drain_headers(client);

        if (query[0] != '\0') {
            apply_web_cmd(query);
        }

        send_page(client);
        zsock_close(client);
    }
}

K_THREAD_DEFINE(http_tid, 8192, http_server_thread, NULL, NULL, NULL, 10, 0, 0);
```

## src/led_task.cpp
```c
// zephyr/src/led_task.cpp
// Cycles the 3 user LEDs (LD1 green, LD2 yellow, LD3 red) through
// pseudo-random on/off patterns every 3 seconds.
//
// Priority 10 — below plant sim (Phase 4, prio 5), above shell (prio 14).
// At least one LED is always on (patterns 0b001 – 0b111, zero excluded).

#include <zephyr/kernel.h>
#include <zephyr/drivers/gpio.h>
#include <zephyr/logging/log.h>

LOG_MODULE_DECLARE(xcmg_sim, LOG_LEVEL_INF);

// ── Device tree LED specs ─────────────────────────────────────────────────────
static const struct gpio_dt_spec led0 = GPIO_DT_SPEC_GET(DT_ALIAS(led0), gpios);
static const struct gpio_dt_spec led1 = GPIO_DT_SPEC_GET(DT_ALIAS(led1), gpios);
static const struct gpio_dt_spec led2 = GPIO_DT_SPEC_GET(DT_ALIAS(led2), gpios);

// ── XorShift32 PRNG — no stdlib needed ───────────────────────────────────────
static uint32_t xorshift32(uint32_t state)
{
    state ^= state << 13;
    state ^= state >> 17;
    state ^= state << 5;
    return state;
}

// ── LED thread ────────────────────────────────────────────────────────────────
static void led_thread(void*, void*, void*)
{
    // Configure all three pins as outputs, start off
    if (!gpio_is_ready_dt(&led0) ||
        !gpio_is_ready_dt(&led1) ||
        !gpio_is_ready_dt(&led2)) {
        LOG_ERR("LED GPIO device not ready");
        return;
    }

    gpio_pin_configure_dt(&led0, GPIO_OUTPUT_INACTIVE);
    gpio_pin_configure_dt(&led1, GPIO_OUTPUT_INACTIVE);
    gpio_pin_configure_dt(&led2, GPIO_OUTPUT_INACTIVE);

    // Seed from uptime so pattern differs after each reset
    uint32_t rng = k_uptime_get_32() | 1u;

    while (true) {
        rng = xorshift32(rng);

        // Map to one of 7 non-zero 3-bit patterns (1–7)
        uint8_t pattern = (rng % 7u) + 1u;

        gpio_pin_set_dt(&led0, (pattern >> 0) & 1);
        gpio_pin_set_dt(&led1, (pattern >> 1) & 1);
        gpio_pin_set_dt(&led2, (pattern >> 2) & 1);

        k_msleep(3000);
    }
}

K_THREAD_DEFINE(led_tid, 512, led_thread, NULL, NULL, NULL, 12, 0, 0);
```

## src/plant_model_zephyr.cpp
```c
// zephyr/src/plant_model_zephyr.cpp
// Zephyr-only PlantModel constructor + set_params.
// Replaces src/plant/plant_model.cpp in the Zephyr build.
//
// Key difference from the host version:
//   - Subsystems stored by value inside PlantModel (no heap, no unique_ptr)
//   - SubsystemManager holds non-owning raw pointers sorted by priority
//   - All XCMG XDE320 params are identical to the host build; only ownership
//     model differs.

#include "plant/plant_model.hpp"
#include "plant/battery_subsystem/battery_subsystem.hpp"
#include "plant/drive_subsystem/drive_subsystem.hpp"
#include "plant/steer_subsystem/steer_subsystem.hpp"
#include "plant/wheel_subsystem/wheel_subsystem.hpp"
#include "plant/vehicle_subsystem/vehicle_subsystem.hpp"
#include "sim/actuator_cmd.hpp"
#include "utils/logging.hpp"

LOG_MODULE_DECLARE(xcmg_sim, LOG_LEVEL_INF);

namespace plant {

// ── helpers ───────────────────────────────────────────────────────────────────

static WheelSubsystemParams make_wheel_params(const PlantModelParams& p)
{
    WheelSubsystemParams wp;
    wp.wheel.inertia_kgm2      = 1000.0;
    wp.wheel.radius_m          = p.drive.wheel_radius_m;
    wp.wheel.omega_max_radps   = 50.0;
    wp.wheel.omega_min_radps   = -10.0;
    wp.wheel.v_eps_mps         = 0.1;
    wp.wheel.omega_eps_radps   = 0.01;

    wp.mass_kg         = p.drive.mass_kg;
    wp.wheelbase_m     = p.wheelbase_m;
    wp.track_m         = p.track_width_m;
    wp.cg_height_m     = p.geometry.cg_height_m;
    wp.cg_to_front_m   = p.geometry.cg_to_front_m;
    wp.wheel_radius_m  = p.drive.wheel_radius_m;

    wp.mu_peak  = p.dynamic_config.surface_mu;
    wp.mu_slide = p.dynamic_config.surface_mu * 0.90;

    wp.tyre_params.Cx_base        = 280000.0;
    wp.tyre_params.Cy_base        = 220000.0;
    wp.tyre_params.Fz_ref         = 800000.0;
    wp.tyre_params.load_exponent  = 0.50;
    wp.tyre_params.mu_peak        = wp.mu_peak;
    wp.tyre_params.mu_slide       = wp.mu_slide;
    wp.tyre_params.sigma_x_max    = 0.95;
    wp.tyre_params.sigma_y_max    = 0.50;
    wp.tyre_params.v_min          = 0.5;

    wp.dynamic_mode_enabled = p.dynamic_config.enabled;
    return wp;
}

static VehicleParams make_vehicle_params(const PlantModelParams& p)
{
    VehicleParams vp;
    vp.mass_kg            = p.drive.mass_kg;
    vp.wheelbase_m        = p.wheelbase_m;
    vp.track_m            = p.track_width_m;
    vp.cg_to_front_m      = p.geometry.cg_to_front_m;
    vp.yaw_inertia_kgm2   = p.geometry.yaw_inertia_kgm2;
    vp.drag_c             = p.drive.drag_c;
    vp.roll_c             = p.drive.roll_c;
    vp.v_max_mps          = p.drive.v_max_mps;
    vp.v_stop_eps         = p.drive.v_stop_eps;
    return vp;
}

// ── PlantModel constructor ────────────────────────────────────────────────────

PlantModel::PlantModel(PlantModelParams p)
    : p_(p)
    , steer_(p.steer)
    , drive_(p.drive)
    , wheel_(make_wheel_params(p))
    , vehicle_(make_vehicle_params(p))
    , battery_(p.battery_params, p.motor_params)
{
    p_.steer.wheelbase_m   = p_.wheelbase_m;
    p_.steer.track_width_m = p_.track_width_m;

    LOG_INF("[PlantModel] Zephyr build — registering %d subsystems by value",
            (int)SubsystemManager::MAX_SUBSYSTEMS);

    // Register raw pointers — manager does NOT take ownership
    subsystem_mgr_.register_subsystem(&steer_);
    subsystem_mgr_.register_subsystem(&drive_);
    subsystem_mgr_.register_subsystem(&wheel_);
    subsystem_mgr_.register_subsystem(&vehicle_);
    subsystem_mgr_.register_subsystem(&battery_);

    // Inject battery into drive subsystem for power limiting
    drive_.set_battery_subsystem(&battery_);

    // Initialize all subsystems with default PlantState
    PlantState init{};
    init.batt_soc_pct           = 50.0;
    init.batt_v                 = p_.battery_params.nominal_voltage_v;
    init.dynamic_model_enabled  = p_.dynamic_config.enabled;
    init.surface_mu             = p_.dynamic_config.surface_mu;
    subsystem_mgr_.initialize_all(init);

    LOG_INF("[PlantModel] Ready: %zu subsystems, dynamic=%s",
            subsystem_mgr_.subsystem_count(),
            p_.dynamic_config.enabled ? "ON" : "OFF");
}

// ── PlantModel::set_params ────────────────────────────────────────────────────

void PlantModel::set_params(const PlantModelParams& p)
{
    p_ = p;
    p_.steer.wheelbase_m   = p_.wheelbase_m;
    p_.steer.track_width_m = p_.track_width_m;

    steer_.set_params(p_.steer);
    drive_.set_params(p_.drive);
    wheel_.set_params(make_wheel_params(p_));

    VehicleParams vp = make_vehicle_params(p_);
    vehicle_.set_params(vp);

    battery_.set_params(p_.battery_params, p_.motor_params);
}

// ── PlantModel::step ──────────────────────────────────────────────────────────

void PlantModel::step(PlantState& s, const sim::ActuatorCmd& cmd, double dt_s)
{
    s.t_s += dt_s;
    s.gear_position = cmd.gear_position;
    subsystem_mgr_.step_all(s, cmd, dt_s);
}

} // namespace plant
```
